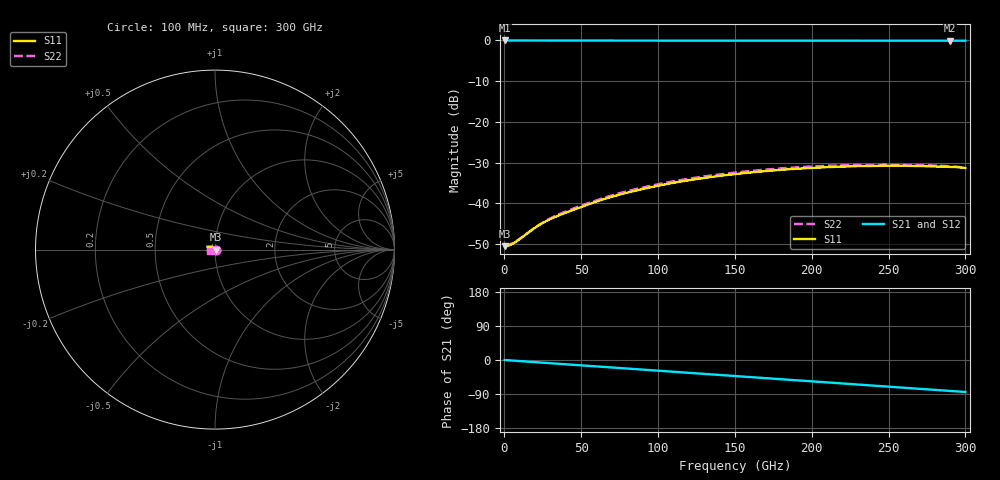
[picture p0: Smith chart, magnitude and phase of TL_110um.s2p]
#  Hz  S  RI  R  50
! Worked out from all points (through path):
!   3000 points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, 100 MHz to 300 GHz, reference 50 ohm
!   highest |S21| = -0.03 dB at 100 MHz (marker M1); lowest = -0.1 dB at 289.9 GHz (marker M2)
!   group delay of S21, straight-line fit = 781 fs
!   lowest |S11| = -50.5 dB at 100 MHz (marker M3), VSWR 1.01, Z = 50.3 - j0.000185 ohm
!   |S11| at or under -10 dB: start of sweep to end of sweep
!   |S22| runs from -50.3 to -30.5 dB; largest |S21 - S12| = 0.00083
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1e8  0.00297 -1.84e-06  0.997 -0.000509  0.9971 -0.00051  0.00305 -3.21e-06
3.5e9  0.00306 -7.92e-05  0.9968 -0.0178  0.9968 -0.0178  0.00313 -0.000124
7.2e9  0.00333 -0.000255  0.996 -0.0365  0.996 -0.0366  0.00337 -0.00033
1.06e10  0.00367 -0.000561  0.9948 -0.0535  0.9947 -0.0536  0.00368 -0.000638
1.94e10  0.00449 -0.00205  0.9904 -0.0966  0.9904 -0.0966  0.0045 -0.00205
2.34e10  0.00467 -0.00294  0.988 -0.1159  0.988 -0.1158  0.00473 -0.00291
2.74e10  0.00468 -0.00387  0.9854 -0.1351  0.9854 -0.1351  0.00483 -0.00383
3.66e10  0.0043 -0.00583  0.9781 -0.1794  0.9782 -0.1794  0.00463 -0.00588
5.01e10  0.00345 -0.00834  0.9636 -0.2438  0.9635 -0.2438  0.00392 -0.0085
6.18e10  0.00244 -0.0105  0.9476 -0.2985  0.9476 -0.2984  0.00315 -0.0107
7.19e10  0.00122 -0.0123  0.9315 -0.3449  0.9315 -0.3449  0.0022 -0.0126
8.46e10  -0.000579 -0.0142  0.9079 -0.4021  0.9078 -0.4021  0.000699 -0.0148
1.001e11  -0.00311 -0.0161  0.8743 -0.4697  0.8743 -0.4696  -0.00143 -0.0171
1.231e11  -0.00751 -0.0181  0.8156 -0.5648  0.8155 -0.5647  -0.00518 -0.0198
1.501e11  -0.0131 -0.0187  0.7336 -0.6671  0.7335 -0.667  -0.0101 -0.0216
1.76e11  -0.0183 -0.0176  0.643 -0.7542  0.6429 -0.7541  -0.0149 -0.0219
2.001e11  -0.0226 -0.0151  0.5494 -0.8245  0.5492 -0.8242  -0.019 -0.0209
2.251e11  -0.0261 -0.0112  0.4443 -0.8852  0.4441 -0.8849  -0.0226 -0.0189
2.501e11  -0.0281 -0.00653  0.3325 -0.9326  0.3324 -0.9323  -0.0252 -0.0159
2.702e11  -0.0285 -0.00228  0.2389 -0.9608  0.2387 -0.9601  -0.0263 -0.0131
2.899e11  -0.0279 0.00179  0.1449 -0.9789  0.1448 -0.9786  -0.0266 -0.0101
3e11  -0.0268 0.00406  0.0959 -0.985  0.0954 -0.9844  -0.0261 -0.00849
